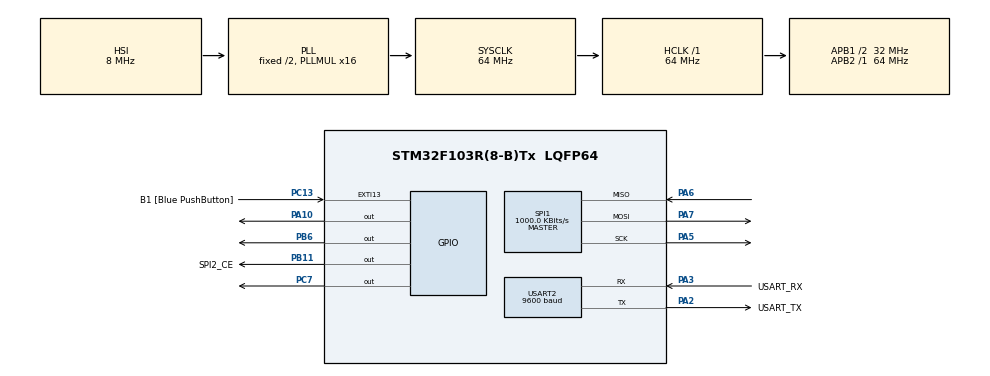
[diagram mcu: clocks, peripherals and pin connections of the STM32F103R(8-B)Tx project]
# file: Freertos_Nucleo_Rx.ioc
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FREERTOS.Tasks01=Task_Idle,-3,128,Idle_App,Default,NULL,Dynamic,NULL,NULL;Task_SPI,0,256,SPI_App,Default,NULL,Dynamic,NULL,NULL;Task_UART,0,256,UART_App,Default,NULL,Dynamic,NULL,NULL;Task_Valve,-2,128,Valve_App,Default,NULL,Dynamic,NULL,NULL
FREERTOS.configTOTAL_HEAP_SIZE=6000
FREERTOS.configUSE_NEWLIB_REENTRANT=1
Mcu.Family=STM32F1
Mcu.Name=STM32F103R(8-B)Tx
Mcu.Package=LQFP64
NVIC.EXTI15_10_IRQn=true\:5\:0\:false\:false\:true\:true\:true\:true\:true
NVIC.PriorityGroup=NVIC_PRIORITYGROUP_4
NVIC.TIM4_IRQn=true\:15\:0\:false\:false\:true\:false\:false\:true\:true
NVIC.TimeBase=TIM4_IRQn
NVIC.TimeBaseIP=TIM4
PA10.Signal=GPIO_Output
PA13.GPIO_Label=TMS
PA13.Mode=Serial_Wire
PA13.Signal=SYS_JTMS-SWDIO
PA14.GPIO_Label=TCK
PA14.Mode=Serial_Wire
PA14.Signal=SYS_JTCK-SWCLK
PA2.GPIO_Label=USART_TX
PA2.GPIO_Mode=GPIO_MODE_AF_PP
PA2.GPIO_PuPd=GPIO_NOPULL
PA2.GPIO_Speed=GPIO_SPEED_FREQ_LOW
PA2.Mode=Asynchronous
PA2.Signal=USART2_TX
PA3.GPIO_Label=USART_RX
PA3.GPIO_Mode=GPIO_MODE_AF_PP
PA3.GPIO_PuPd=GPIO_NOPULL
PA3.GPIO_Speed=GPIO_SPEED_FREQ_LOW
PA3.Mode=Asynchronous
PA3.Signal=USART2_RX
PA5.Mode=Full_Duplex_Master
PA5.Signal=SPI1_SCK
PA6.Mode=Full_Duplex_Master
PA6.Signal=SPI1_MISO
PA7.Mode=Full_Duplex_Master
PA7.Signal=SPI1_MOSI
PB11.GPIO_Label=SPI2_CE
PB11.Signal=GPIO_Output
PB12.Signal=SPI2_NSS
PB3.GPIO_Label=SWO
PB3.Signal=SYS_JTDO-TRACESWO
PB6.Signal=GPIO_Output
PC13-TAMPER-RTC.GPIO_Label=B1 [Blue PushButton]
PC13-TAMPER-RTC.GPIO_PuPd=GPIO_NOPULL
PC13-TAMPER-RTC.Signal=GPXTI13
PC14-OSC32_IN.Mode=LSE-External-Oscillator
PC14-OSC32_IN.Signal=RCC_OSC32_IN
PC15-OSC32_OUT.Mode=LSE-External-Oscillator
PC15-OSC32_OUT.Signal=RCC_OSC32_OUT
PC7.Signal=GPIO_Output
PD0-OSC_IN.Mode=HSE-External-Clock-Source
PD0-OSC_IN.Signal=RCC_OSC_IN
PD1-OSC_OUT.Mode=HSE-External-Clock-Source
PD1-OSC_OUT.Signal=RCC_OSC_OUT
ProjectManager.HeapSize=0x200
ProjectManager.StackSize=0x400
ProjectManager.TargetToolchain=STM32CubeIDE
RCC.AHBFreq_Value=64000000
RCC.APB1CLKDivider=RCC_HCLK_DIV2
RCC.APB1Freq_Value=32000000
RCC.APB1TimFreq_Value=64000000
RCC.APB2Freq_Value=64000000
RCC.APB2TimFreq_Value=64000000
RCC.HCLKFreq_Value=64000000
RCC.PLLMUL=RCC_PLL_MUL16
RCC.RTCClockSelection=RCC_RTCCLKSOURCE_LSE
RCC.SYSCLKFreq_VALUE=64000000
RCC.SYSCLKSource=RCC_SYSCLKSOURCE_PLLCLK
RCC.USBFreq_Value=64000000
SPI1.BaudRatePrescaler=SPI_BAUDRATEPRESCALER_64
SPI1.CalculateBaudRate=1000.0 KBits/s
SPI1.Direction=SPI_DIRECTION_2LINES
SPI1.Mode=SPI_MODE_MASTER
SPI1.VirtualType=VM_MASTER
USART2.BaudRate=9600
USART2.Mode=MODE_TX
USART2.VirtualMode=VM_ASYNC
USART2.WordLength=WORDLENGTH_8B
VP_FREERTOS_VS_CMSIS_V1.Mode=CMSIS_V1
VP_SYS_VS_tim4.Mode=TIM4
board=NUCLEO-F103RB

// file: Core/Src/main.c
/* USER CODE BEGIN Header */
/**
  ******************************************************************************
  * @file           : main.c
  * @brief          : Main program body
  ******************************************************************************
  * @attention
  *
  * Copyright (c) 2022 STMicroelectronics.
  * All rights reserved.
  *
  * This software is licensed under terms that can be found in the LICENSE file
  * in the root directory of this software component.
  * If no LICENSE file comes with this software, it is provided AS-IS.
  *
  ******************************************************************************
  */
/* USER CODE END Header */
#include "main.h"
#include "cmsis_os.h"

/* USER CODE BEGIN Includes */
#include <stdint.h>
#include <stdio.h>
#include "nrf24l01.h"
#include "file.h"
/* USER CODE END Includes */

/* USER CODE BEGIN PD */
#define LED_GREEN_GPIO		GPIOA
#define LED_GREEN_PIN		GPIO_PIN_10
#define BLUE_BUTTON_GPIO	GPIOC
#define BLUE_BUTTON_PIN 	GPIO_PIN_13
#define SPI_CE_GPIO			GPIOC
#define SPI_CE_PIN			GPIO_PIN_7
/* USER CODE END PD */

SPI_HandleTypeDef hspi1;

UART_HandleTypeDef huart2;

osThreadId Task_IdleHandle;
osThreadId Task_SPIHandle;
osThreadId Task_UARTHandle;
osThreadId Task_ValveHandle;

void SystemClock_Config(void);
static void MX_GPIO_Init(void);
static void MX_USART2_UART_Init(void);
static void MX_SPI1_Init(void);
void Idle_App(void const * argument);
void SPI_App(void const * argument);
void UART_App(void const * argument);
void Valve_App(void const * argument);

/* USER CODE BEGIN 0 */
uint8_t UART_STATUS=0;
uint8_t RxAddress[]={0xEE, 0xDD, 0xCC, 0xBB, 0xAA};
uint8_t Rx_data[32];
typedef enum
{
ALLUMER=GPIO_PIN_SET,
ETEINDRE=GPIO_PIN_RESET
}etatled_e;
etatled_e etatled_verte=ETEINDRE;
/* USER CODE END 0 */

int main(void)
{

  /* MCU Configuration--------------------------------------------------------*/

  /* Reset of all peripherals, Initializes the Flash interface and the Systick. */
  HAL_Init();

  /* Configure the system clock */
  SystemClock_Config();

  /* Initialize all configured peripherals */
  MX_GPIO_Init();
  MX_USART2_UART_Init();
  MX_SPI1_Init();
  /* USER CODE BEGIN 2 */
  nrf24_Init();

  nrf24_RxMode(RxAddress, 10);
  /* USER CODE END 2 */

  /* Create the thread(s) */
  /* definition and creation of Task_Idle */
  osThreadDef(Task_Idle, Idle_App, osPriorityIdle, 0, 128);
  Task_IdleHandle = osThreadCreate(osThread(Task_Idle), NULL);

  /* definition and creation of Task_SPI */
  osThreadDef(Task_SPI, SPI_App, osPriorityNormal, 0, 256);
  Task_SPIHandle = osThreadCreate(osThread(Task_SPI), NULL);

  /* definition and creation of Task_UART */
  osThreadDef(Task_UART, UART_App, osPriorityNormal, 0, 256);
  Task_UARTHandle = osThreadCreate(osThread(Task_UART), NULL);

  /* definition and creation of Task_Valve */
  osThreadDef(Task_Valve, Valve_App, osPriorityLow, 0, 128);
  Task_ValveHandle = osThreadCreate(osThread(Task_Valve), NULL);

  /* Start scheduler */
  osKernelStart();

  /* We should never get here as control is now taken by the scheduler */
  /* Infinite loop */
  while (1)
  {

  }
}

void SystemClock_Config(void)
{
  RCC_OscInitTypeDef RCC_OscInitStruct = {0};
  RCC_ClkInitTypeDef RCC_ClkInitStruct = {0};

  /** Initializes the RCC Oscillators according to the specified parameters
  * in the RCC_OscInitTypeDef structure.
  */
  RCC_OscInitStruct.OscillatorType = RCC_OSCILLATORTYPE_HSI;
  RCC_OscInitStruct.HSIState = RCC_HSI_ON;
  RCC_OscInitStruct.HSICalibrationValue = RCC_HSICALIBRATION_DEFAULT;
  RCC_OscInitStruct.PLL.PLLState = RCC_PLL_ON;
  RCC_OscInitStruct.PLL.PLLSource = RCC_PLLSOURCE_HSI_DIV2;
  RCC_OscInitStruct.PLL.PLLMUL = RCC_PLL_MUL16;
  if (HAL_RCC_OscConfig(&RCC_OscInitStruct) != HAL_OK)
  {
    Error_Handler();
  }

  /** Initializes the CPU, AHB and APB buses clocks
  */
  RCC_ClkInitStruct.ClockType = RCC_CLOCKTYPE_HCLK|RCC_CLOCKTYPE_SYSCLK
                              |RCC_CLOCKTYPE_PCLK1|RCC_CLOCKTYPE_PCLK2;
  RCC_ClkInitStruct.SYSCLKSource = RCC_SYSCLKSOURCE_PLLCLK;
  RCC_ClkInitStruct.AHBCLKDivider = RCC_SYSCLK_DIV1;
  RCC_ClkInitStruct.APB1CLKDivider = RCC_HCLK_DIV2;
  RCC_ClkInitStruct.APB2CLKDivider = RCC_HCLK_DIV1;

  if (HAL_RCC_ClockConfig(&RCC_ClkInitStruct, FLASH_LATENCY_2) != HAL_OK)
  {
    Error_Handler();
  }
}

static void MX_SPI1_Init(void)
{

  /* SPI1 parameter configuration*/
  hspi1.Instance = SPI1;
  hspi1.Init.Mode = SPI_MODE_MASTER;
  hspi1.Init.Direction = SPI_DIRECTION_2LINES;
  hspi1.Init.DataSize = SPI_DATASIZE_8BIT;
  hspi1.Init.CLKPolarity = SPI_POLARITY_LOW;
  hspi1.Init.CLKPhase = SPI_PHASE_1EDGE;
  hspi1.Init.NSS = SPI_NSS_SOFT;
  hspi1.Init.BaudRatePrescaler = SPI_BAUDRATEPRESCALER_64;
  hspi1.Init.FirstBit = SPI_FIRSTBIT_MSB;
  hspi1.Init.TIMode = SPI_TIMODE_DISABLE;
  hspi1.Init.CRCCalculation = SPI_CRCCALCULATION_DISABLE;
  hspi1.Init.CRCPolynomial = 10;
  if (HAL_SPI_Init(&hspi1) != HAL_OK)
  {
    Error_Handler();
  }

}

static void MX_USART2_UART_Init(void)
{

  huart2.Instance = USART2;
  huart2.Init.BaudRate = 9600;
  huart2.Init.WordLength = UART_WORDLENGTH_8B;
  huart2.Init.StopBits = UART_STOPBITS_1;
  huart2.Init.Parity = UART_PARITY_NONE;
  huart2.Init.Mode = UART_MODE_TX;
  huart2.Init.HwFlowCtl = UART_HWCONTROL_NONE;
  huart2.Init.OverSampling = UART_OVERSAMPLING_16;
  if (HAL_UART_Init(&huart2) != HAL_OK)
  {
    Error_Handler();
  }

}

static void MX_GPIO_Init(void)
{
  GPIO_InitTypeDef GPIO_InitStruct = {0};

  /* GPIO Ports Clock Enable */
  __HAL_RCC_GPIOC_CLK_ENABLE();
  __HAL_RCC_GPIOD_CLK_ENABLE();
  __HAL_RCC_GPIOA_CLK_ENABLE();
  __HAL_RCC_GPIOB_CLK_ENABLE();

  /*Configure GPIO pin Output Level */
  HAL_GPIO_WritePin(GPIOB, SPI2_CE_Pin|GPIO_PIN_6, GPIO_PIN_RESET);

  /*Configure GPIO pin Output Level */
  HAL_GPIO_WritePin(GPIOC, GPIO_PIN_7, GPIO_PIN_RESET);

  /*Configure GPIO pin Output Level */
  HAL_GPIO_WritePin(GPIOA, GPIO_PIN_10, GPIO_PIN_RESET);

  /*Configure GPIO pin : B1_Pin */
  GPIO_InitStruct.Pin = B1_Pin;
  GPIO_InitStruct.Mode = GPIO_MODE_IT_RISING;
  GPIO_InitStruct.Pull = GPIO_NOPULL;
  HAL_GPIO_Init(B1_GPIO_Port, &GPIO_InitStruct);

  /*Configure GPIO pins : SPI2_CE_Pin PB6 */
  GPIO_InitStruct.Pin = SPI2_CE_Pin|GPIO_PIN_6;
  GPIO_InitStruct.Mode = GPIO_MODE_OUTPUT_PP;
  GPIO_InitStruct.Pull = GPIO_NOPULL;
  GPIO_InitStruct.Speed = GPIO_SPEED_FREQ_LOW;
  HAL_GPIO_Init(GPIOB, &GPIO_InitStruct);

  /*Configure GPIO pin : PB12 */
  GPIO_InitStruct.Pin = GPIO_PIN_12;
  GPIO_InitStruct.Mode = GPIO_MODE_AF_PP;
  GPIO_InitStruct.Speed = GPIO_SPEED_FREQ_HIGH;
  HAL_GPIO_Init(GPIOB, &GPIO_InitStruct);

  /*Configure GPIO pin : PC7 */
  GPIO_InitStruct.Pin = GPIO_PIN_7;
  GPIO_InitStruct.Mode = GPIO_MODE_OUTPUT_PP;
  GPIO_InitStruct.Pull = GPIO_NOPULL;
  GPIO_InitStruct.Speed = GPIO_SPEED_FREQ_LOW;
  HAL_GPIO_Init(GPIOC, &GPIO_InitStruct);

  /*Configure GPIO pin : PA10 */
  GPIO_InitStruct.Pin = GPIO_PIN_10;
  GPIO_InitStruct.Mode = GPIO_MODE_OUTPUT_PP;
  GPIO_InitStruct.Pull = GPIO_NOPULL;
  GPIO_InitStruct.Speed = GPIO_SPEED_FREQ_LOW;
  HAL_GPIO_Init(GPIOA, &GPIO_InitStruct);

  /* EXTI interrupt init*/
  HAL_NVIC_SetPriority(EXTI15_10_IRQn, 5, 0);
  HAL_NVIC_EnableIRQ(EXTI15_10_IRQn);

}

void Idle_App(void const * argument)
{
  /* USER CODE BEGIN 5 */
  /* Infinite loop */
  for(;;)
  {
    osDelay(200);
  }
  /* USER CODE END 5 */
}

void SPI_App(void const * argument)
{
  /* USER CODE BEGIN SPI_App */
  /* Infinite loop */
  for(;;)
  {
	if(isDataAvailable(1)){
		nrf24_Receive(Rx_data);
		HAL_GPIO_TogglePin(LED_GREEN_GPIO, LED_GREEN_PIN);
		UART_STATUS=1;
	}
    vTaskDelay(10);
  }
  /* USER CODE END SPI_App */
}

void UART_App(void const * argument)
{
  /* USER CODE BEGIN UART_App */
  /* Infinite loop */
  for(;;)
  {
	  if(UART_STATUS==1){
		  HAL_UART_Transmit(&huart2, Rx_data, 32, 100);
		  UART_STATUS=0;
	  }
    vTaskDelay(1000);
  }
  /* USER CODE END UART_App */
}

void Valve_App(void const * argument)
{
  /* USER CODE BEGIN Valve_App */
  /* Infinite loop */
  for(;;)
  {
	  if(!HAL_GPIO_ReadPin(BLUE_BUTTON_GPIO, BLUE_BUTTON_PIN)){
	  		HAL_GPIO_TogglePin(LED_GREEN_GPIO, LED_GREEN_PIN);
	  	}
    vTaskDelay(100);
  }
  /* USER CODE END Valve_App */
}

void HAL_TIM_PeriodElapsedCallback(TIM_HandleTypeDef *htim)
{
  if (htim->Instance == TIM4) {
    HAL_IncTick();
  }
}

void Error_Handler(void)
{
  __disable_irq();
  while (1)
  {
  }
}
